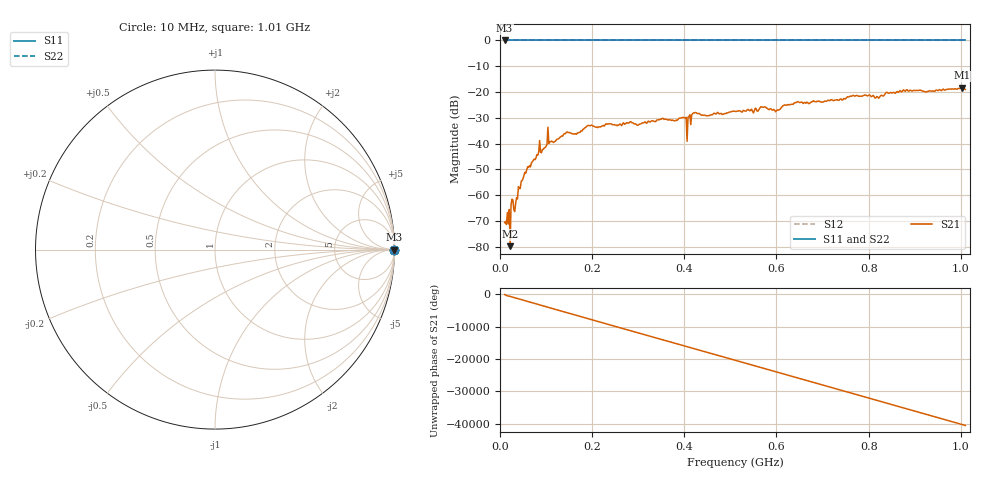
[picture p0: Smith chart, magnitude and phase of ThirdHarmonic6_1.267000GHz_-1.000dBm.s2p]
! 8/16/2025 1:40:47 PM
! C:\ANRITSUVNA\TEMP\TEMP.S2P
! CHANNEL.1
! TR.MEASUREMENT
! RAW.DATA
! RF.CORRECTION.OFF
! AVERAGING.OFF
! IF.BANDWIDTH: 5KHZ
! SWEEPTYPE:  FREQ.SWEEP(Linear)
! Reference Plane Port Info
! PORT:  PORT1  PORT2
! DISTANCE:  0  m  0  m
! TIME:  0  s  0  s
! PHASE.OFFSET:  0  deg.  0  deg.
! LOSS:  0  dB  0  dB
! REF.LOSS:  0  dB  0  dB
! REF.FREQ:  0  Hz  0  Hz
! Power Info
! POWER:  -20  dBm  -20  dBm
! EFF.POWER:  -20  dBm  -20  dBm
! SOURCE.ATTEN:  0  dB  0  dB
! TEST.ATTEN:  0  dB  0  dB
# GHZ S RI R 50.0
! FREQ.GHZ  S11RE  S11IM  S21RE  S21IM  S12RE  S12IM  S22RE  S22IM
!; PortSelection: Port_12
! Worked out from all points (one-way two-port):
!   501 points, 10 MHz to 1.01 GHz, reference 50 ohm
!   highest |S21| = -18.34 dB at 1.002 GHz (marker M1); lowest = -79.9 dB at 22 MHz (marker M2)
!   lowest |S11| = 0.0 dB at 10 MHz (marker M3)
!   |S11| at or under -10 dB: nowhere
!   |S22| runs from 0.0 to 0.0 dB; largest |S21 - S12| = 1.1
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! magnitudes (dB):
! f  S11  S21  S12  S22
! 10 MHz  0.0  -70.7  0.0  0.0
! 16 MHz  0.0  -66.8  0.0  0.0
! 18 MHz  0.0  -71.2  0.0  0.0
! 22 MHz  0.0  -79.9  0.0  0.0
! 28 MHz  0.0  -61.9  0.0  0.0
! 34 MHz  0.0  -63.2  0.0  0.0
! 50 MHz  0.0  -53.6  0.0  0.0
! 84 MHz  0.0  -43.4  0.0  0.0
! 108 MHz  0.0  -39.4  0.0  0.0
! 178 MHz  0.0  -35.1  0.0  0.0
! 194 MHz  0.0  -33.1  0.0  0.0
! 344 MHz  0.0  -30.8  0.0  0.0
! 400 MHz  0.0  -30.0  0.0  0.0
! 410 MHz  0.0  -29.6  0.0  0.0
! 422 MHz  0.0  -28.1  0.0  0.0
! 510 MHz  0.0  -27.5  0.0  0.0
! 570 MHz  0.0  -25.9  0.0  0.0
! 602 MHz  0.0  -26.9  0.0  0.0
! 678 MHz  0.0  -23.8  0.0  0.0
! 844 MHz  0.0  -20.5  0.0  0.0
! 1.002 GHz  0.0  -18.3  0.0  0.0
! 1.01 GHz  0.0  -19.0  0.0  0.0
